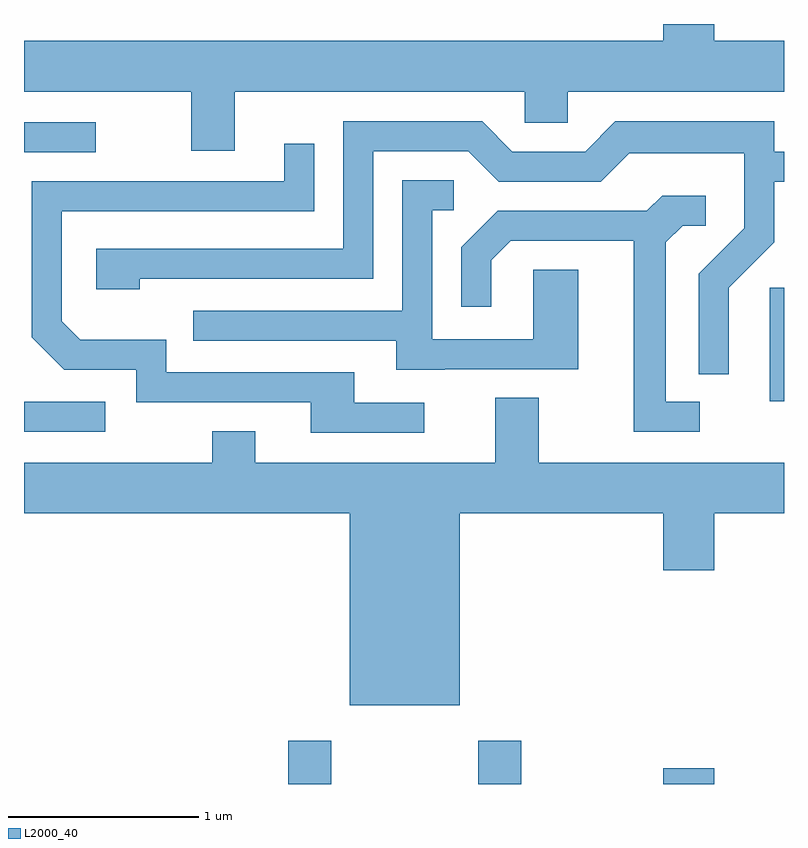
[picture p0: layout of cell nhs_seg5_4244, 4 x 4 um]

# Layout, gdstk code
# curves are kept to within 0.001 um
import gdstk
lib = gdstk.Library(unit=1e-6, precision=1e-09)
def R(c, l, rs):  # rectangles x0, y0, x1, y1
    for r in rs: c.add(gdstk.rectangle(r[:2], r[2:], *l))
def P(c, l, *ps):  # polygons
    for p in ps: c.add(gdstk.Polygon(p, *l))
L2000_40 = (2000, 40)

nhs_seg5_4244 = lib.new_cell('nhs_seg5_4244')
R(nhs_seg5_4244, L2000_40, [(313.001,1422.072,313.229,1422.299), (314.001,1422.072,314.229,1422.299), (314.976,1422.072,315.244,1422.154), (311.611,1423.926,312.038,1424.084), (315.536,1424.086,315.611,1424.684), (311.611,1425.396,311.988,1425.554)])
P(nhs_seg5_4244, L2000_40, [(312.719,1425.716),(314.246,1425.716),(314.246,1425.551),(314.474,1425.551),(314.474,1425.716),(315.611,1425.716),(315.611,1425.984),(315.244,1425.984),(315.244,1426.072),(314.976,1426.072),(314.976,1425.984),(311.611,1425.984),(311.611,1425.716),(312.491,1425.716),(312.491,1425.406),(312.719,1425.406)],
  [(315.319,1424.684),(315.559,1424.924),(315.559,1425.241),(315.611,1425.241),(315.611,1425.399),(315.559,1425.399),(315.559,1425.559),(314.724,1425.559),(314.564,1425.399),(314.182,1425.399),(314.022,1425.559),(313.291,1425.559),(313.291,1424.889),(311.991,1424.889),(311.991,1424.676),(312.219,1424.676),(312.219,1424.731),(313.449,1424.731),(313.449,1425.401),(313.949,1425.401),(314.109,1425.241),(314.647,1425.241),(314.797,1425.391),(315.401,1425.391),(315.401,1424.997),(315.161,1424.757),(315.161,1424.228),(315.319,1424.228)],
  [(313.718,1424.079),(313.349,1424.079),(313.349,1424.239),(312.359,1424.239),(312.359,1424.409),(311.907,1424.409),(311.809,1424.507),(311.809,1425.086),(313.139,1425.086),(313.139,1425.443),(312.981,1425.443),(312.981,1425.244),(311.651,1425.244),(311.651,1424.424),(311.824,1424.251),(312.201,1424.251),(312.201,1424.081),(313.121,1424.081),(313.121,1423.921),(313.718,1423.921)],
  [(313.825,1424.256),(314.529,1424.256),(314.529,1424.779),(314.291,1424.779),(314.291,1424.414),(313.759,1424.414),(313.759,1425.091),(313.873,1425.091),(313.873,1425.249),(313.601,1425.249),(313.601,1424.564),(312.503,1424.564),(312.503,1424.406),(313.571,1424.406),(313.571,1424.251),(313.825,1424.251)],
  [(315.168,1424.084),(314.989,1424.084),(314.989,1424.924),(315.077,1425.011),(315.198,1425.011),(315.198,1425.169),(314.969,1425.169),(314.889,1425.089),(314.104,1425.089),(313.911,1424.897),(313.911,1424.583),(314.069,1424.583),(314.069,1424.829),(314.172,1424.931),(314.821,1424.931),(314.821,1423.926),(315.168,1423.926)],
  [(313.904,1423.496),(314.976,1423.496),(314.976,1423.196),(315.244,1423.196),(315.244,1423.496),(315.611,1423.496),(315.611,1423.764),(314.319,1423.764),(314.319,1424.104),(314.091,1424.104),(314.091,1423.764),(312.829,1423.764),(312.829,1423.929),(312.601,1423.929),(312.601,1423.764),(311.611,1423.764),(311.611,1423.496),(313.326,1423.496),(313.326,1422.486),(313.904,1422.486)])

lib.write_gds('nhs_seg5_4244.gds')
